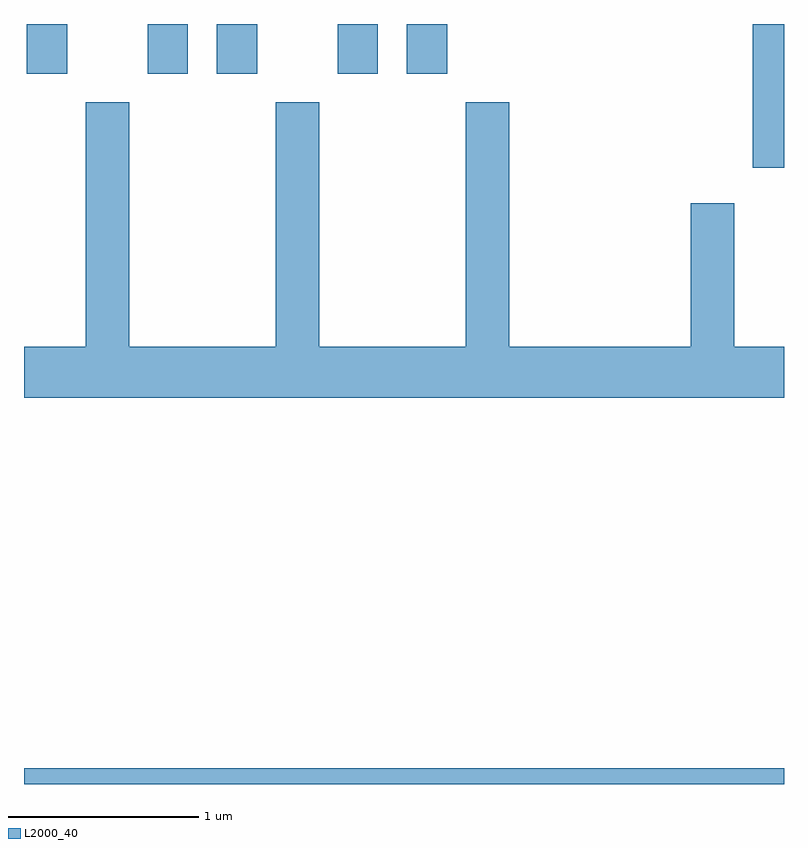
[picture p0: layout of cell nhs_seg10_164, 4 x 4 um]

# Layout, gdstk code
import gdstk
lib = gdstk.Library(unit=1e-6, precision=1e-09)
def R(c, l, rs):  # rectangles x0, y0, x1, y1
    for r in rs: c.add(gdstk.rectangle(r[:2], r[2:], *l))
def P(c, l, *ps):  # polygons
    for p in ps: c.add(gdstk.Polygon(p, *l))
L2000_40 = (2000, 40)

nhs_seg10_164 = lib.new_cell('nhs_seg10_164')
R(nhs_seg10_164, L2000_40, [(189.611,2138.522,193.611,2138.604), (193.446,2141.766,193.611,2142.522), (189.626,2142.261,189.839,2142.522), (190.261,2142.261,190.474,2142.522), (190.626,2142.261,190.839,2142.522), (191.261,2142.261,191.474,2142.522), (191.626,2142.261,191.839,2142.522)])
P(nhs_seg10_164, L2000_40, [(193.611,2140.824),(193.349,2140.824),(193.349,2141.579),(193.121,2141.579),(193.121,2140.824),(192.164,2140.824),(192.164,2142.109),(191.936,2142.109),(191.936,2140.824),(191.164,2140.824),(191.164,2142.109),(190.936,2142.109),(190.936,2140.824),(190.164,2140.824),(190.164,2142.109),(189.936,2142.109),(189.936,2140.824),(189.611,2140.824),(189.611,2140.556),(193.611,2140.556)])

lib.write_gds('nhs_seg10_164.gds')
